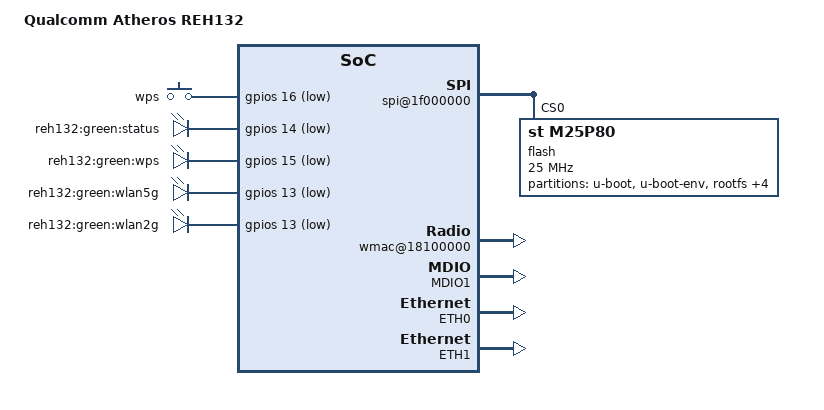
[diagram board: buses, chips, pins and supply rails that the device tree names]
/*
 * Copyright (c) 2013 Qualcomm Atheros, Inc.
 *
 * This program is free software; you can redistribute it and/or modify it
 * under the terms of the GNU General Public License version 2 as published
 * by the Free Software Foundation.
 */

/dts-v1/;

/ {
	model = "Qualcomm Atheros REH132";
	compatible = "ath79,reh132";
	#address-cells = <1>;
	#size-cells = <1>;
	interrupt-parent = <&vic>;

	gpios: ath79-gpio {
		#gpio-cells = <2>;
		gpio-controller;
	};

	ahb {
		compatible = "simple-bus";
		#address-cells = <1>;
		#size-cells = <1>;
		ranges;

		vic: intc {
			compatible = "interrupt-controller";
			interrupt-controller;
			#interrupt-cells = <1>;
		};

		spi@1f000000 {
			compatible = "qcom,ag71xx-spi";	 /* master */
			#address-cells = <1>;
			#size-cells = <0>;
			reg = <0x1f000000 0x01000000>;

			flash: m25p80@0 {
				compatible = "st,m25p80";	/* modalias */
				#address-cells = <1>;
				#size-cells = <1>;
				spi-max-frequency = <25000000>; /* max_speed_hz */
				reg = <0>;			/* chip_select */
				spi-controller-data = <1 0 0>;  /* is_flash cs_type cs_line */

				partition@u-boot {
					label = "u-boot";
					reg = <0x00000000 0x00040000>;
                                        read-only;
                                };
				partition@u-boot-env {
					label = "u-boot-env";
					reg = <0x00040000 0x00010000>;
                                        read-only;
                                };
                                partition@rootfs {
                                        label = "rootfs";
                                        reg = <0x00050000 0x00630000>;
                                };
                                partition@kernel {
                                        label = "kernel";
                                        reg = <0x00680000 0x00160000>;
                                        read-only;
                                };
                                partition@dtb {
                                        label = "dtb";
                                        reg = <0x007e0000 0x00010000>;
                                        read-only;
                                };
                                partition@art {
                                        label = "art";
                                        reg = <0x007f0000 0x00010000>;
                                        read-only;
                                };
                                partition@firmware {
                                        label = "firmware";
                                        reg = <0x00050000 0x00790000>;
                                };
			};
		};

		wmac@18100000 {
			compatible = "qcom,ag71xx-wmac";
			reg = <0x18100000 0x20000>;
			interrupts = <47>;
			interrupt-parent = <&vic>;
		};

		MDIO1: mdio@1a000000 {
			compatible = "qcom,ag71xx-mdio";
			reg = <0x1a000000 0x200>;
			reg-names = "mdio_base";
		};

		ETH0: ethernet@19000000 {
			compatible = "qcom,ag71xx-eth";
			reg = <0x19000000 0x200>,
			      <0x18070000 0x14>;
			reg-names = "mac_base",
				"cfg_base";
			interrupts = <4>;
			interrupt-names = "mac_irq";
			interrupt-parent = <&vic>;
			mdio-handle = <&MDIO1>;

			eth-cfg = <0x00003000>; /* RMII_GMAC0_MASTER | SW_ACC_MSB_FIRST */
			eth-phy-cfg = <1 0 100 1>; /* phy_if_mode:MII phy_mask:0 speed:100M duplex:DUPLEX_FULL */
			eth-fifo-cfg = <0x0010ffff 0x03ff0155 0x01f00140>; /* fifo_cfg1 fifo_cfg2 fifo_cfg3 */
		};

		ETH1: ethernet@1a000000 {
			compatible = "qcom,ag71xx-eth";
			reg = <0x1a000000 0x200>;
			reg-names = "mac_base";
			interrupts = <5>;
			interrupt-names = "mac_irq";
			interrupt-parent = <&vic>;
			mdio-handle = <&MDIO1>;

			eth-phy-cfg = <2 0 1000 1>; /* phy_if_mode:GMII phy_mask:0 speed:1G duplex:DUPLEX_FULL */
			eth-fifo-cfg = <0x0010ffff 0x03ff0155 0x01f00140>; /* fifo_cfg1 fifo_cfg2 fifo_cfg3 */
			eth-sw-cfg = <1 0>; /* phy4_mii_en phy_poll_mask */
		};
	};

	gpio-keys {
		compatible = "gpio-keys";
		#address-cells = <1>;
		#size-cells = <0>;

		wps {
			label = "wps";
			gpios = <&gpios 16 1>;
			linux,code = <529>;
			debounce-interval = <60>;
		};
	};

	gpio-leds {
		compatible = "gpio-leds";

		status {
			label = "reh132:green:status";
			gpios = <&gpios 14 1>;
			linux,default-trigger = "timer";
		};

		wps {
			label = "reh132:green:wps";
			gpios = <&gpios 15 1>;
			linux,default-trigger = "timer";
		};

		wlan5g {
			label = "reh132:green:wlan5g";
			gpios = <&gpios 13 1>;
			linux,default-trigger = "timer";
		};

		wlan2g {
			label = "reh132:green:wlan2g";
			gpios = <&gpios 13 1>;
			linux,default-trigger = "timer";
		};
	};
};
